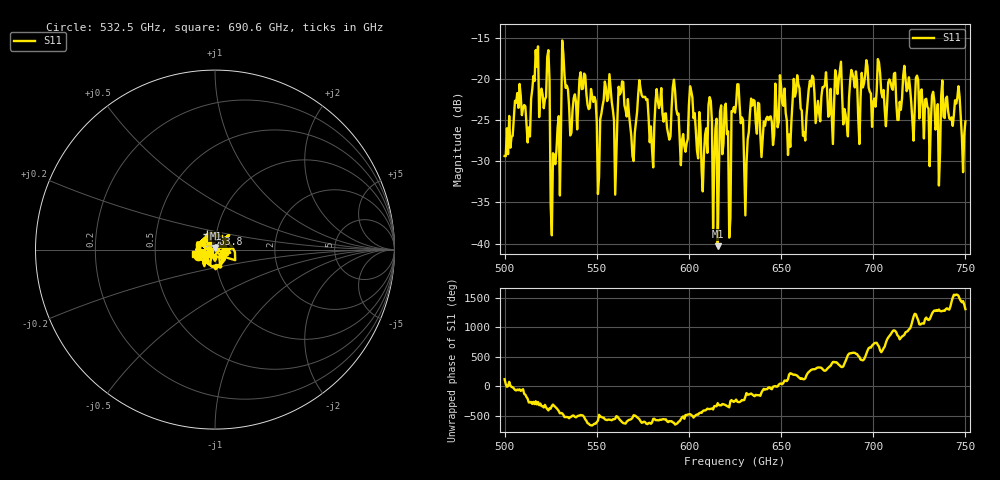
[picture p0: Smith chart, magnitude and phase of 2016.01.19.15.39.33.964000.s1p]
!Created with skrf (http://scikit-rf.org).
# GHz S RI R 50.0
!freq ReS11 ImS11
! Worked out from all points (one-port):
!   401 points, 500 GHz to 750 GHz, reference 50 ohm
!   lowest |S11| = -40.3 dB at 615.6 GHz (marker M1), VSWR 1.02, Z = 50.2 + j0.943 ohm
!   |S11| at or under -10 dB: start of sweep to end of sweep
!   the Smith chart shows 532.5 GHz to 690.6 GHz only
!   S11 on the Smith chart (normalised r, x): 532.5 GHz: 0.82, -0.06; 563.8 GHz: 0.90, +0.16; 690.6 GHz: 0.80, -0.04
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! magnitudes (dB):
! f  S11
! 500 GHz  -29.4
! 506.9 GHz  -21.7
! 513.1 GHz  -25.9
! 516.9 GHz  -16.5
! 523.1 GHz  -17.4
! 526.2 GHz  -29.0
! 531.2 GHz  -15.3
! 532.5 GHz  -19.6
! 551.2 GHz  -31.9
! 555.6 GHz  -22.7
! 560 GHz  -34.1
! 562.5 GHz  -21.9
! 563.8 GHz  -20.3
! 569.4 GHz  -29.4
! 573.8 GHz  -21.2
! 580 GHz  -28.6
! 593.8 GHz  -24.3
! 615.6 GHz  -40.3
! 620 GHz  -23.0
! 621.9 GHz  -39.3
! 625 GHz  -24.1
! 631.2 GHz  -30.2
! 634.4 GHz  -23.3
! 656.2 GHz  -22.7
! 687.5 GHz  -20.2
! 690.6 GHz  -19.1
! 718.8 GHz  -21.1
! 750 GHz  -25.2
